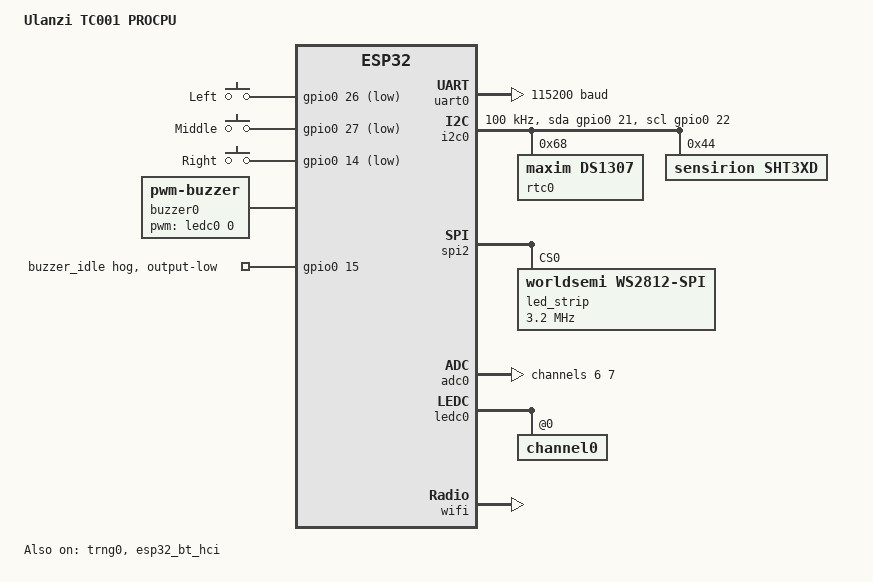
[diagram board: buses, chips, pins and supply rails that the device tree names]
/*
 * Copyright (c) 2026 Bruno Vunderl
 *
 * SPDX-License-Identifier: Apache-2.0
 */
/dts-v1/;

#include <espressif/esp32/esp32.dtsi>
#include <zephyr/dt-bindings/adc/adc.h>
#include <zephyr/dt-bindings/input/input-event-codes.h>
#include <zephyr/dt-bindings/led/led.h>
#include <zephyr/dt-bindings/pwm/pwm.h>
#include <espressif/partitions_0x1000_amp.dtsi>
#include "ulanzi_tc001-pinctrl.dtsi"

/ {
	model = "Ulanzi TC001 PROCPU";
	compatible = "ulanzi,tc001";

	aliases {
		uart-0 = &uart0;
		i2c-0 = &i2c0;
		sw0 = &button_left;
		sw1 = &button_middle;
		sw2 = &button_right;
		watchdog0 = &wdt0;
		led-strip = &led_strip;
		rtc = &rtc0;
	};

	chosen {
		zephyr,sram = &sram1;
		zephyr,console = &uart0;
		zephyr,shell-uart = &uart0;
		zephyr,flash = &flash0;
		zephyr,code-partition = &slot0_partition;
		zephyr,bt-hci = &esp32_bt_hci;
		zephyr,display = &led_matrix;
	};

	buttons {
		compatible = "gpio-keys";

		button_left: button_left {
			label = "Left";
			gpios = <&gpio0 26 (GPIO_PULL_UP | GPIO_ACTIVE_LOW)>;
			zephyr,code = <INPUT_KEY_LEFT>;
		};

		button_middle: button_middle {
			label = "Middle";
			gpios = <&gpio0 27 (GPIO_PULL_UP | GPIO_ACTIVE_LOW)>;
			zephyr,code = <INPUT_KEY_ENTER>;
		};

		button_right: button_right {
			label = "Right";
			gpios = <&gpio0 14 (GPIO_PULL_UP | GPIO_ACTIVE_LOW)>;
			zephyr,code = <INPUT_KEY_RIGHT>;
		};
	};

	buzzer0: buzzer0 {
		compatible = "pwm-buzzer";
		pwms = <&ledc0 0 PWM_HZ(2700) PWM_POLARITY_NORMAL>;
	};

	led_matrix: led-matrix {
		compatible = "led-strip-matrix";
		led-strips = <&led_strip>;
		width = <32>;
		height = <8>;
	};
};

&flash0 {
	reg = <0x0 DT_SIZE_M(4)>;
	ranges = <0x0 0x0 DT_SIZE_M(4)>;
};

&uart0 {
	status = "okay";
	current-speed = <115200>;
	pinctrl-0 = <&uart0_default>;
	pinctrl-names = "default";
};

&gpio0 {
	gpio-reserved-ranges = <6 6>, <20 1>, <24 1>, <28 4>;
	status = "okay";

	buzzer_idle {
		gpio-hog;
		gpios = <15 GPIO_ACTIVE_HIGH>;
		output-low;
	};
};

&gpio1 {
	gpio-reserved-ranges = <5 2>;
	status = "okay";
};

&i2c0 {
	status = "okay";
	clock-frequency = <I2C_BITRATE_STANDARD>;
	sda-gpios = <&gpio0 21 GPIO_OPEN_DRAIN>;
	scl-gpios = <&gpio0 22 GPIO_OPEN_DRAIN>;
	pinctrl-0 = <&i2c0_default>;
	pinctrl-names = "default";

	rtc0: rtc@68 {
		compatible = "maxim,ds1307";
		reg = <0x68>;
	};

	sht3xd: sht3xd@44 {
		compatible = "sensirion,sht3xd";
		reg = <0x44>;
	};
};

&spi2 {
	#address-cells = <1>;
	#size-cells = <0>;
	status = "okay";
	dma-enabled;
	line-idle-low;
	pinctrl-0 = <&spim2_ws2812_led>;
	pinctrl-names = "default";

	led_strip: ws2812@0 {
		compatible = "worldsemi,ws2812-spi";
		reg = <0>;
		spi-max-frequency = <3200000>;
		bits-per-symbol = <4>;
		spi-one-frame = <0xe>;
		spi-zero-frame = <0x8>;

		chain-length = <256>;
		color-mapping = <LED_COLOR_ID_GREEN
				 LED_COLOR_ID_RED
				 LED_COLOR_ID_BLUE>;
	};
};

&adc0 {
	#address-cells = <1>;
	#size-cells = <0>;
	status = "okay";

	battery_channel: channel@6 {
		reg = <6>;
		zephyr,gain = "ADC_GAIN_1_4";
		zephyr,reference = "ADC_REF_INTERNAL";
		zephyr,acquisition-time = <ADC_ACQ_TIME_DEFAULT>;
		zephyr,resolution = <12>;
	};

	ldr_channel: channel@7 {
		reg = <7>;
		zephyr,gain = "ADC_GAIN_1_4";
		zephyr,reference = "ADC_REF_INTERNAL";
		zephyr,acquisition-time = <ADC_ACQ_TIME_DEFAULT>;
		zephyr,resolution = <12>;
	};
};

&ledc0 {
	pinctrl-0 = <&ledc0_default>;
	pinctrl-names = "default";
	status = "okay";
	#address-cells = <1>;
	#size-cells = <0>;

	channel0@0 {
		reg = <0x0>;
		timer = <0>;
	};
};

&timer0 {
	status = "disabled";
};

&timer1 {
	status = "disabled";
};

&timer2 {
	status = "disabled";
};

&timer3 {
	status = "disabled";
};

&trng0 {
	status = "okay";
};

&esp32_bt_hci {
	status = "okay";
};

&wifi {
	status = "okay";
};
